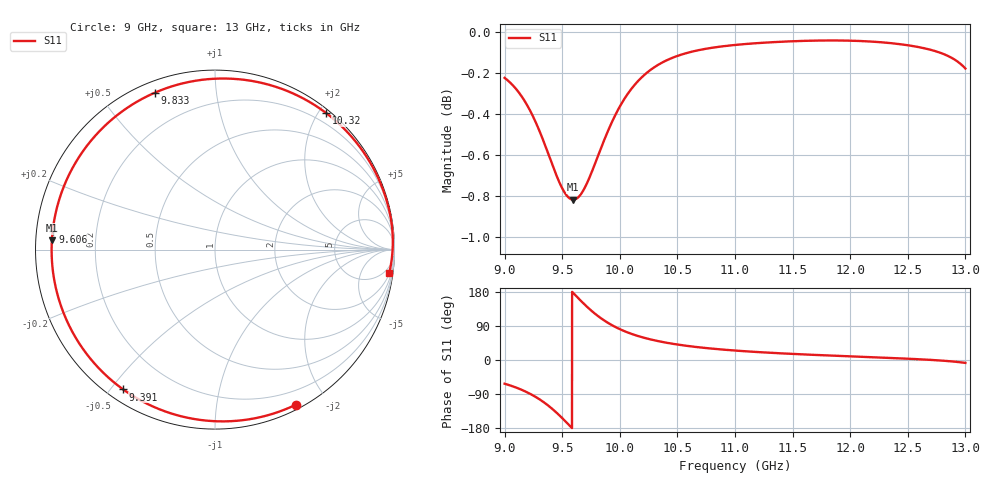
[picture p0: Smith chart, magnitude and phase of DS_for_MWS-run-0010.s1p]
! TOUCHSTONE file generated by CST DESIGN STUDIO
! Date and time: Tue Feb  4 12:57:31 2025
! Project name: C:\Work\MatlabApps\UnitCellOptimizationMatlab\CST\unitcell.cst
! Tree item: Tasks\Sweep1\SPara1\S-Parameters
! Header version: 2024
! Port assignment regex: !\s*Touchstone port\s*([0-9]+)\s*=\s*(CST MWS port|CST DES external port|CST DES block port)\s*(.+)\s* \(\"(.*)\"\)(\s*mode\s*([0-9]+))?.*
! Touchstone port assignment:
! Touchstone port 1 = CST DES external port 1 ("")
# GHz S MA R 50
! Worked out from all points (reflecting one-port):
!   4001 points, 9 GHz to 13 GHz, reference 50 ohm
!   lowest |S11| = -0.8 dB at 9.596 GHz (marker M1), VSWR 21.28, Z = 2.35 + j1.4 ohm
!   phase of S11 starts at -63 deg and turns -305 deg over the sweep
!   S11 on the Smith chart (normalised r, x): 9 GHz: 0.05, -1.65; 9.391 GHz: 0.05, -0.54; 9.606 GHz: 0.05, +0.06; 9.833 GHz: 0.05, +0.69; 10.32 GHz: 0.05, +2.11; 13 GHz: 2, -15
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9  0.9744 -62.5
9.119  0.9669 -75.0
9.239  0.9546 -92.1
9.32  0.9433 -107.2
9.391  0.932 -123.3
9.445  0.9234 -137.4
9.5  0.916 -153.3
9.549  0.9117 -168.3
9.596  0.9102 176.8
9.606  0.9103 173.6
9.661  0.9129 156.5
9.724  0.9198 138.1
9.778  0.9277 123.8
9.833  0.9363 110.9
9.909  0.9476 95.9
10  0.9589 81.4
10.071  0.966 72.4
10.147  0.9719 64.3
10.229  0.9769 57.2
10.319  0.981 50.7
10.5  0.9865 40.8
10.72  0.9901 32.4
11  0.9926 24.9
11.5  0.9946 16.1
12  0.9949 9.6
12.5  0.9924 3.4
12.792  0.988 -1.5
13  0.9796 -7.6
